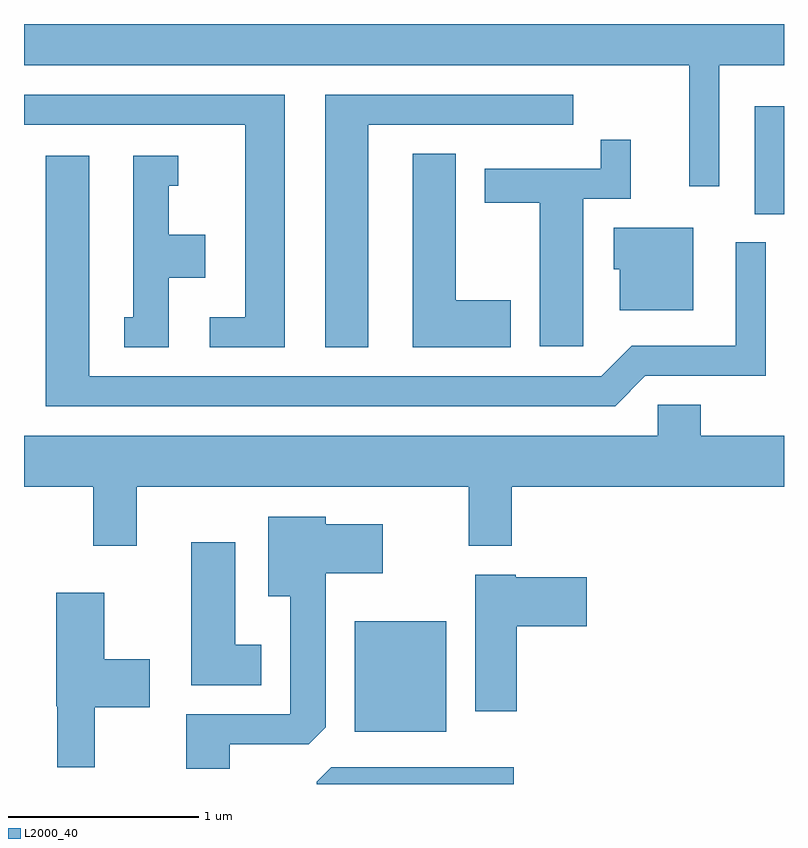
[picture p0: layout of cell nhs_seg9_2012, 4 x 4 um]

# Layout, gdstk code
import gdstk
lib = gdstk.Library(unit=1e-6, precision=1e-09)
def R(c, l, rs):  # rectangles x0, y0, x1, y1
    for r in rs: c.add(gdstk.rectangle(r[:2], r[2:], *l))
def P(c, l, *ps):  # polygons
    for p in ps: c.add(gdstk.Polygon(p, *l))
L2000_40 = (2000, 40)

nhs_seg9_2012 = lib.new_cell('nhs_seg9_2012')
R(nhs_seg9_2012, L2000_40, [(245.351,2032.706,245.834,2033.289), (247.456,2035.431,247.611,2035.999)])
P(nhs_seg9_2012, L2000_40, [(247.269,2036.216),(247.611,2036.216),(247.611,2036.432),(243.611,2036.432),(243.611,2036.216),(247.111,2036.216),(247.111,2035.578),(247.269,2035.578)],
  [(244.984,2036.059),(243.611,2036.059),(243.611,2035.901),(244.776,2035.901),(244.776,2034.889),(244.588,2034.889),(244.588,2034.731),(244.984,2034.731)],
  [(245.424,2035.901),(246.503,2035.901),(246.503,2036.059),(245.196,2036.059),(245.196,2034.731),(245.424,2034.731)],
  [(246.554,2035.511),(246.804,2035.511),(246.804,2035.823),(246.646,2035.823),(246.646,2035.669),(246.036,2035.669),(246.036,2035.491),(246.326,2035.491),(246.326,2034.736),(246.554,2034.736)],
  [(246.174,2034.979),(245.884,2034.979),(245.884,2035.749),(245.656,2035.749),(245.656,2034.731),(246.174,2034.731)],
  [(244.374,2035.096),(244.564,2035.096),(244.564,2035.324),(244.374,2035.324),(244.374,2035.581),(244.423,2035.581),(244.423,2035.739),(244.186,2035.739),(244.186,2034.889),(244.138,2034.889),(244.138,2034.731),(244.374,2034.731)],
  [(246.882,2034.581),(247.514,2034.581),(247.514,2035.283),(247.356,2035.283),(247.356,2034.739),(246.809,2034.739),(246.649,2034.579),(243.954,2034.579),(243.954,2035.739),(243.726,2035.739),(243.726,2034.421),(246.722,2034.421)],
  [(247.134,2035.359),(246.716,2035.359),(246.716,2035.141),(246.746,2035.141),(246.746,2034.926),(247.134,2034.926)],
  [(244.204,2033.996),(245.951,2033.996),(245.951,2033.686),(246.179,2033.686),(246.179,2033.996),(247.611,2033.996),(247.611,2034.264),(247.174,2034.264),(247.174,2034.429),(246.946,2034.429),(246.946,2034.264),(243.611,2034.264),(243.611,2033.996),(243.976,2033.996),(243.976,2033.686),(244.204,2033.686)],
  [(244.694,2032.641),(245.109,2032.641),(245.199,2032.732),(245.199,2033.541),(245.499,2033.541),(245.499,2033.799),(245.199,2033.799),(245.199,2033.839),(244.896,2033.839),(244.896,2033.421),(245.011,2033.421),(245.011,2032.799),(244.466,2032.799),(244.466,2032.511),(244.694,2032.511)],
  [(244.859,2033.164),(244.724,2033.164),(244.724,2033.704),(244.491,2033.704),(244.491,2032.951),(244.859,2032.951)],
  [(246.204,2033.261),(246.574,2033.261),(246.574,2033.519),(246.2,2033.519),(246.2,2033.534),(245.986,2033.534),(245.986,2032.816),(246.204,2032.816)],
  [(243.984,2032.836),(244.274,2032.836),(244.274,2033.089),(244.034,2033.089),(244.034,2033.439),(243.781,2033.439),(243.781,2032.84),(243.786,2032.84),(243.786,2032.521),(243.984,2032.521)],
  [(246.188,2032.519),(245.227,2032.519),(245.151,2032.444),(245.151,2032.432),(246.188,2032.432)])

lib.write_gds('nhs_seg9_2012.gds')
